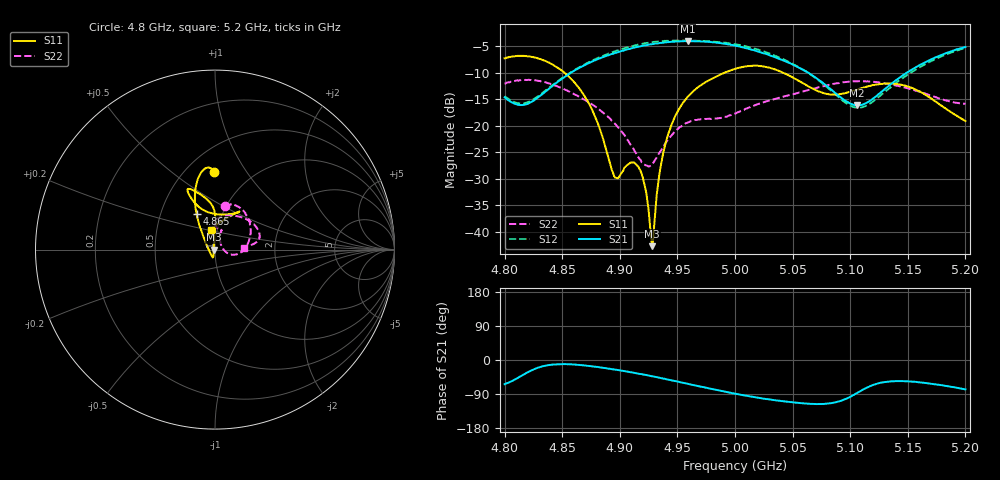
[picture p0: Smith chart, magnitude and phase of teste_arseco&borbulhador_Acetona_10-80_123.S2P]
! Network Analyzer HP8722D
! Hewlett-Packard
! Data name: Linha & Wilkinson
! Saver's name: Rodrigo Anjos
! Comments: Teste da utilização de aquisição
! continua pelo VNA HP8722D
! Time and date: 25/4/2025 16:17
!  Frequency  S11  S21  S12  S22
# HZ  S  MA R 50
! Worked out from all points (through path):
!   401 points, 4.8 GHz to 5.2 GHz, reference 50 ohm
!   highest |S21| = -3.98 dB at 4.959 GHz (marker M1); lowest = -16.1 dB at 5.106 GHz (marker M2)
!   lowest |S11| = -42.7 dB at 4.928 GHz (marker M3), VSWR 1.01, Z = 49.3 - j0.0646 ohm
!   |S11| at or under -10 dB: 4.852 GHz to 4.991 GHz (138.5 MHz wide, 2.81 % of centre); 5.042 GHz to end of sweep
!   |S22| runs from -27.7 to -11.3 dB; largest |S21 - S12| = 1.2
!   S11 on the Smith chart (normalised r, x): 4.8 GHz: 0.68, +0.72; 4.865 GHz: 0.76, +0.32; 5.2 GHz: 0.94, +0.21
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4.8e9  0.4344 90.8  0.1857 -63.7  0.1909 69.8  0.2506 77.0
4.82e9  0.4541 97.0  0.1611 -32.5  0.167 98.5  0.2714 61.7
4.845e9  0.3605 107.4  0.2549 -11.3  0.2583 119.4  0.2391 34.1
4.865e9  0.2244 117.2  0.3538 -13.1  0.3578 120.8  0.1879 11.0
4.867e9  0.209 118.5  0.3638 -13.8  0.3681 120.8  0.1823 8.7
4.88e9  0.1118 128.7  0.4228 -18.3  0.4334 118.3  0.1483 -5.2
4.896e9  0.03241 -166.0  0.4886 -25.4  0.5073 113.2  0.1043 -16.1
4.91e9  0.04498 -106.4  0.5401 -32.6  0.5636 107.2  0.06454 -13.5
4.917e9  0.03924 -103.6  0.5617 -36.4  0.5881 103.5  0.04878 -1.4
4.922e9  0.02611 -106.9  0.5757 -39.2  0.6039 100.8  0.04265 15.4
4.928e9  0.00729 -174.8  0.5907 -43.1  0.6166 97.1  0.04384 40.8
4.93e9  0.01195 124.8  0.5974 -44.2  0.6204 95.8  0.0465 48.3
4.934e9  0.03273 99.8  0.6035 -46.6  0.6286 93.3  0.0549 58.6
4.944e9  0.09619 90.7  0.6225 -53.1  0.638 87.0  0.07904 69.3
4.959e9  0.1884 89.7  0.6326 -62.8  0.6381 77.3  0.1076 71.3
5e9  0.3456 109.2  0.5737 -89.0  0.5924 50.9  0.1307 88.3
5.03e9  0.3541 115.1  0.4655 -104.3  0.4822 34.0  0.1735 85.4
5.067e9  0.2257 105.3  0.3008 -115.9  0.2983 23.7  0.2221 57.1
5.106e9  0.2193 64.8  0.1563 -87.1  0.1483 56.0  0.2634 24.8
5.134e9  0.2512 57.3  0.2409 -56.7  0.2266 88.8  0.2479 12.4
5.169e9  0.1852 70.1  0.4182 -62.0  0.4018 84.9  0.1947 6.8
5.2e9  0.111 100.6  0.5554 -77.6  0.5451 70.2  0.1614 3.8
